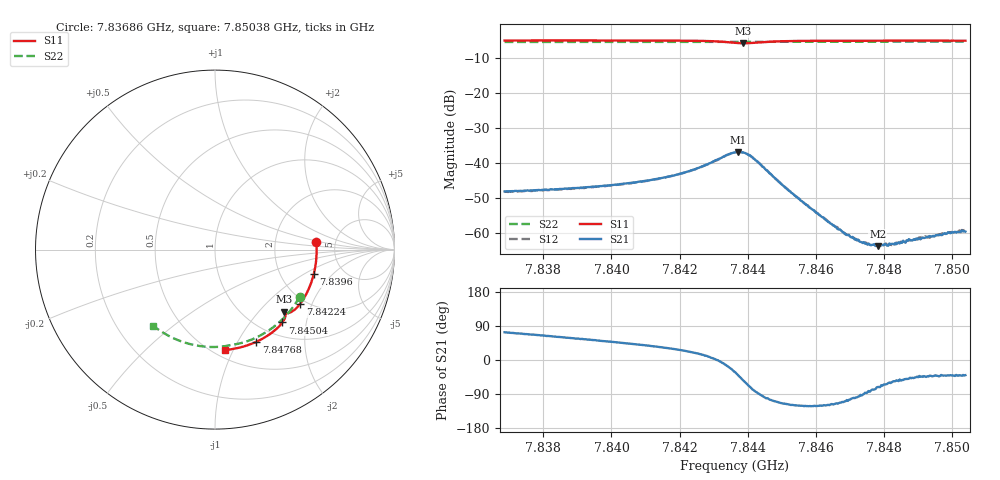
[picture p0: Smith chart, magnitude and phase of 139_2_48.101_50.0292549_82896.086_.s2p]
#  HZ  S  RI  R  50.00
! Rohde & Schwarz Vector Network Analyzer
! Rohde-Schwarz,ZNB20-2Port,1311601062101988,3.16
! Created: UTC 12/23/2023, 3:48:34 AM
! freq[Hz]  re:S11  im:S11  re:S21  im:S21  re:S12  im:S12  re:S22  im:S22
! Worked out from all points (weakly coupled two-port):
!   401 points, 7.83686 GHz to 7.85038 GHz, reference 50 ohm
!   highest |S21| = -36.79 dB at 7.84373 GHz (marker M1); lowest = -63.7 dB at 7.84782 GHz (marker M2)
!   lowest |S11| = -5.7 dB at 7.84386 GHz (marker M3), VSWR 3.14, Z = 73.5 - j69.4 ohm
!   |S11| at or under -10 dB: nowhere
!   |S22| runs from -5.4 to -5.3 dB; largest |S21 - S12| = 0.00029
!   S11 on the Smith chart (normalised r, x): 7.83686 GHz: 3.54, +0.47; 7.8396 GHz: 3.07, -1.24; 7.84224 GHz: 1.86, -1.65; 7.84504 GHz: 1.25, -1.46; 7.84768 GHz: 0.80, -1.20; 7.85038 GHz: 0.57, -0.93
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7.836865e9  0.5642 0.0447  0.00114 0.00377  0.00115 0.0037  0.4715 -0.2619
7.839129e9  0.5569 -0.1057  0.0025 0.00368  0.00249 0.00363  0.3761 -0.388
7.839603e9  0.5501 -0.1368  0.00289 0.00362  0.00286 0.0036  0.3517 -0.4104
7.841394e9  0.507 -0.2509  0.00497 0.00338  0.00493 0.00342  0.2478 -0.481
7.842239e9  0.4748 -0.302  0.007 0.00294  0.00695 0.00296  0.1937 -0.5055
7.843118e9  0.4248 -0.3477  0.0112 -8.16e-05  0.0113 -7.58e-05  0.1344 -0.5235
7.843625e9  0.3896 -0.3517  0.012 -0.00747  0.0122 -0.00761  0.1005 -0.5295
7.843726e9  0.3859 -0.3491  0.0109 -0.00951  0.0109 -0.00936  0.094 -0.5307
7.843861e9  0.3846 -0.3457  0.00844 -0.0114  0.00851 -0.0113  0.0856 -0.5321
7.843996e9  0.3871 -0.3451  0.00557 -0.0121  0.00567 -0.0121  0.0771 -0.5338
7.844165e9  0.3911 -0.3496  0.00221 -0.0115  0.00231 -0.0115  0.0662 -0.5359
7.845044e9  0.3756 -0.4059  -0.00198 -0.00429  -0.00201 -0.00433  0.00504 -0.5426
7.845889e9  0.3337 -0.4496  -0.00114 -0.00185  -0.00117 -0.00187  -0.0545 -0.5409
7.846836e9  0.2803 -0.4873  -0.000336 -0.000945  -0.000325 -0.000921  -0.1203 -0.5308
7.847343e9  0.2502 -0.504  -4.85e-05 -0.000736  -5.03e-05 -0.000751  -0.1549 -0.5221
7.847681e9  0.2298 -0.5138  0.00014 -0.000662  0.000137 -0.000674  -0.1775 -0.515
7.847816e9  0.2215 -0.5176  0.00021 -0.000617  0.000216 -0.000614  -0.1864 -0.5118
7.848154e9  0.2004 -0.5262  0.000364 -0.00061  0.00033 -0.000599  -0.2087 -0.5034
7.849066e9  0.1423 -0.5446  0.000581 -0.000568  0.00061 -0.000605  -0.2664 -0.476
7.849303e9  0.127 -0.5481  0.000641 -0.000607  0.000666 -0.000585  -0.2809 -0.4679
7.849844e9  0.0917 -0.5551  0.000748 -0.000644  0.000725 -0.000667  -0.3129 -0.4474
7.850385e9  0.0561 -0.5595  0.000803 -0.000676  0.000801 -0.000739  -0.3433 -0.4248
